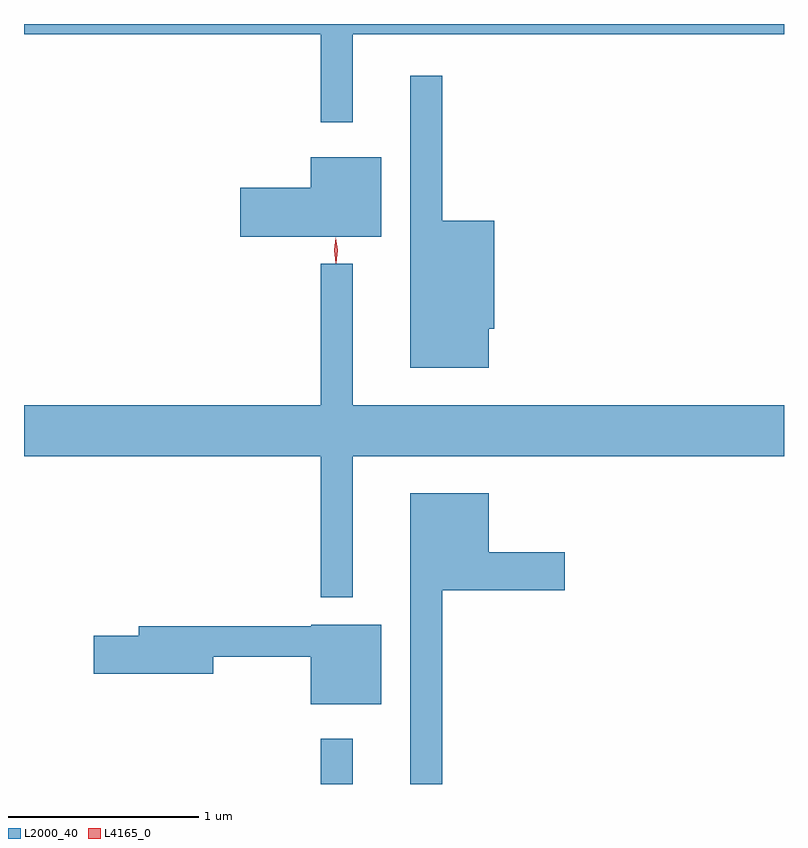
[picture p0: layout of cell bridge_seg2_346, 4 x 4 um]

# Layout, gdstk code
import gdstk
lib = gdstk.Library(unit=1e-6, precision=1e-09)
def R(c, l, rs):  # rectangles x0, y0, x1, y1
    for r in rs: c.add(gdstk.rectangle(r[:2], r[2:], *l))
def P(c, l, *ps):  # polygons
    for p in ps: c.add(gdstk.Polygon(p, *l))
L2000_40 = (2000, 40)
L4165_0 = (4165, 0)

bridge_seg2_346 = lib.new_cell('bridge_seg2_346')
R(bridge_seg2_346, L2000_40, [(312.291,1006.63,312.459,1006.868)])
P(bridge_seg2_346, L2000_40, [(312.459,1010.576),(314.728,1010.576),(314.728,1010.63),(310.728,1010.63),(310.728,1010.576),(312.291,1010.576),(312.291,1010.113),(312.459,1010.113)],
  [(313.174,1009.026),(313.204,1009.026),(313.204,1009.594),(312.929,1009.594),(312.929,1010.358),(312.761,1010.358),(312.761,1008.821),(313.174,1008.821)],
  [(312.609,1009.929),(312.236,1009.929),(312.236,1009.769),(311.866,1009.769),(311.866,1009.511),(312.609,1009.511)],
  [(312.459,1008.356),(314.728,1008.356),(314.728,1008.624),(312.459,1008.624),(312.459,1009.368),(312.291,1009.368),(312.291,1008.624),(310.728,1008.624),(310.728,1008.356),(312.291,1008.356),(312.291,1007.613),(312.459,1007.613)],
  [(312.929,1007.651),(313.574,1007.651),(313.574,1007.849),(313.174,1007.849),(313.174,1008.159),(312.761,1008.159),(312.761,1006.63),(312.929,1006.63)],
  [(312.609,1007.469),(312.24,1007.469),(312.24,1007.459),(311.331,1007.459),(311.331,1007.409),(311.096,1007.409),(311.096,1007.211),(311.724,1007.211),(311.724,1007.301),(312.236,1007.301),(312.236,1007.051),(312.609,1007.051)])
P(bridge_seg2_346, L4165_0, [(312.37,1009.37),(312.37,1009.37),(312.36,1009.438),(312.369,1009.505),(312.37,1009.506),(312.37,1009.505),(312.38,1009.438),(312.371,1009.37)],
  [(312.37,1009.373),(312.37,1009.373),(312.36,1009.436),(312.369,1009.499),(312.369,1009.5),(312.37,1009.499),(312.38,1009.436),(312.371,1009.373)])

lib.write_gds('bridge_seg2_346.gds')
